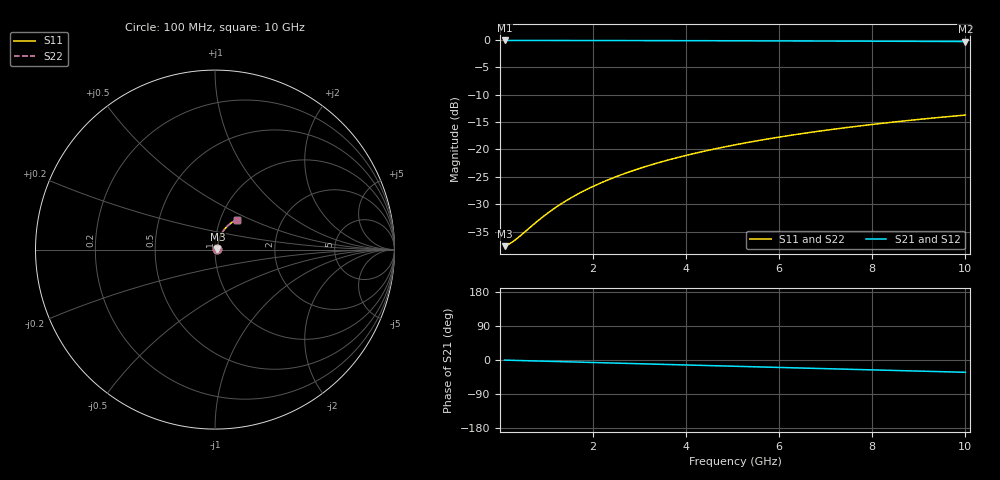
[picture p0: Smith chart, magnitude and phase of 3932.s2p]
# Hz S RI R 50.00
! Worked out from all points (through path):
!   100 points, 100 MHz to 10 GHz, reference 50 ohm
!   highest |S21| = -0.11 dB at 100 MHz (marker M1); lowest = -0.3 dB at 10 GHz (marker M2)
!   group delay of S21, straight-line fit = 9.02 ps
!   lowest |S11| = -37.7 dB at 100 MHz (marker M3), VSWR 1.03, Z = 51.3 + j0.219 ohm
!   |S11| at or under -10 dB: start of sweep to end of sweep
!   |S22| runs from -37.7 to -13.7 dB; largest |S21 - S12| = 0
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1e8  0.0129 0.00213  0.9871 -0.00567  0.9871 -0.00567  0.0129 0.00213
2e8  0.013 0.00426  0.9869 -0.0113  0.9869 -0.0113  0.013 0.00426
3e8  0.0132 0.00639  0.9868 -0.017  0.9868 -0.017  0.0132 0.00639
4e8  0.0133 0.00851  0.9866 -0.0227  0.9866 -0.0227  0.0133 0.00851
9e8  0.0143 0.0191  0.9852 -0.051  0.9852 -0.051  0.0143 0.0191
1.2e9  0.0151 0.0254  0.9839 -0.0679  0.9839 -0.0679  0.0151 0.0254
1.5e9  0.0162 0.0317  0.9824 -0.0848  0.9824 -0.0848  0.0162 0.0317
1.8e9  0.0174 0.038  0.9805 -0.1017  0.9805 -0.1017  0.0174 0.038
2.1e9  0.0189 0.0442  0.9783 -0.1185  0.9783 -0.1185  0.0189 0.0442
2.5e9  0.0212 0.0523  0.9748 -0.1408  0.9748 -0.1408  0.0212 0.0523
2.9e9  0.0238 0.0604  0.9708 -0.163  0.9708 -0.163  0.0238 0.0604
3.4e9  0.0277 0.0702  0.9649 -0.1905  0.9649 -0.1905  0.0277 0.0702
3.8e9  0.0311 0.078  0.9596 -0.2123  0.9596 -0.2123  0.0311 0.078
4.2e9  0.0349 0.0855  0.9538 -0.234  0.9538 -0.234  0.0349 0.0855
4.6e9  0.039 0.0928  0.9474 -0.2554  0.9474 -0.2554  0.039 0.0928
5.1e9  0.0447 0.1017  0.9387 -0.2819  0.9387 -0.2819  0.0447 0.1017
5.9e9  0.0547 0.1152  0.9231 -0.3235  0.9231 -0.3235  0.0547 0.1152
6.7e9  0.0658 0.1276  0.9055 -0.364  0.9055 -0.364  0.0658 0.1276
7.5e9  0.0779 0.139  0.886 -0.4033  0.886 -0.4033  0.0779 0.139
8.4e9  0.0927 0.1503  0.862 -0.446  0.862 -0.446  0.0927 0.1503
9.2e9  0.1067 0.159  0.8389 -0.4826  0.8389 -0.4826  0.1067 0.159
1e10  0.1212 0.1664  0.8143 -0.5176  0.8143 -0.5176  0.1212 0.1664
